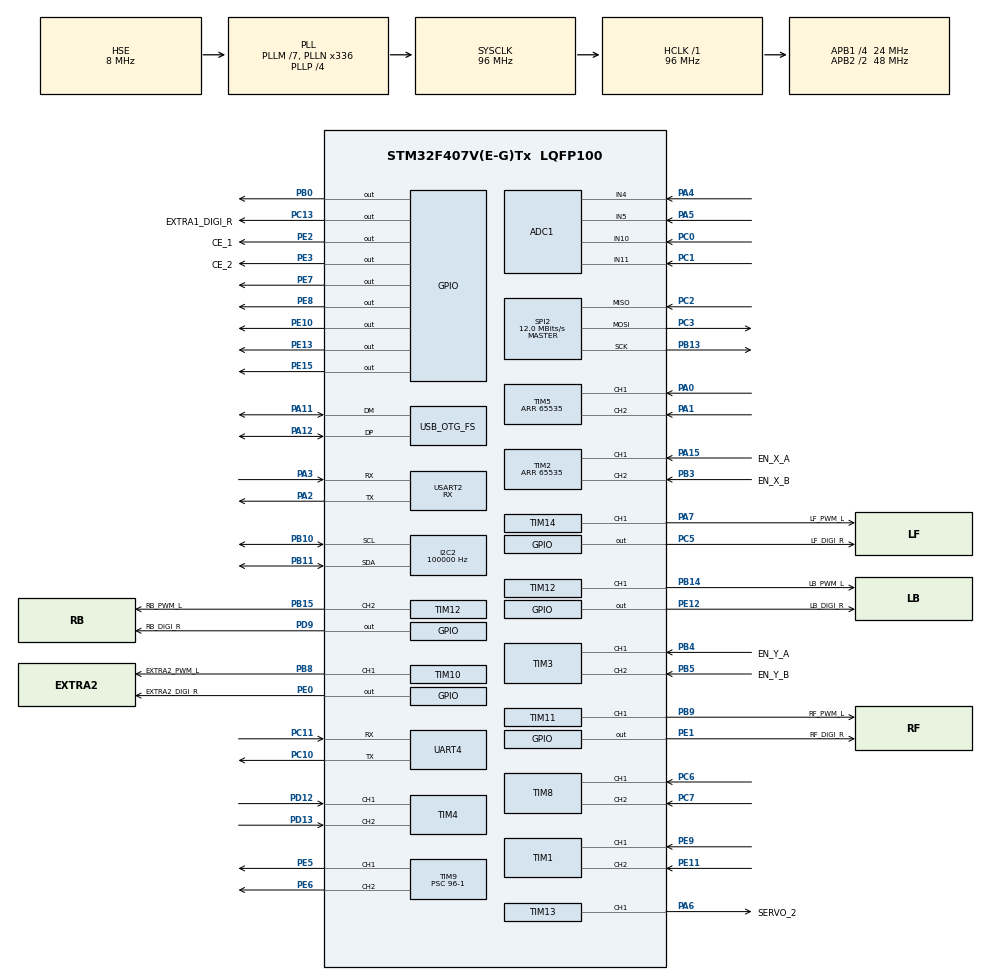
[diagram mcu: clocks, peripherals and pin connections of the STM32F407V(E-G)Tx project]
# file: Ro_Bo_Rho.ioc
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ADC1.Channel-3\#ChannelRegularConversion=ADC_CHANNEL_4
ADC1.NbrOfConversionFlag=1
ADC1.Rank-3\#ChannelRegularConversion=1
ADC1.SamplingTime-3\#ChannelRegularConversion=ADC_SAMPLETIME_3CYCLES
ADC1.master=1
I2C2.ClockSpeed=100000
I2C2.I2C_Mode=I2C_Fast
Mcu.Family=STM32F4
Mcu.Name=STM32F407V(E-G)Tx
Mcu.Package=LQFP100
NVIC.OTG_FS_IRQn=true\:0\:0\:false\:false\:true\:false\:true\:true
NVIC.PriorityGroup=NVIC_PRIORITYGROUP_4
NVIC.USART2_IRQn=true\:0\:0\:false\:false\:true\:true\:true\:true
PA0-WKUP.GPIO_PuPd=GPIO_PULLDOWN
PA0-WKUP.GPIO_Speed=GPIO_SPEED_FREQ_VERY_HIGH
PA0-WKUP.Signal=S_TIM5_CH1
PA1.GPIO_PuPd=GPIO_PULLDOWN
PA1.GPIO_Speed=GPIO_SPEED_FREQ_VERY_HIGH
PA1.Signal=S_TIM5_CH2
PA11.Mode=Device_Only
PA11.Signal=USB_OTG_FS_DM
PA12.Mode=Device_Only
PA12.Signal=USB_OTG_FS_DP
PA15.GPIO_Label=EN_X_A
PA15.GPIO_PuPd=GPIO_NOPULL
PA15.Signal=S_TIM2_CH1_ETR
PA2.Mode=Asynchronous
PA2.Signal=USART2_TX
PA3.Mode=Asynchronous
PA3.Signal=USART2_RX
PA4.Signal=ADCx_IN4
PA5.Signal=ADCx_IN5
PA6.GPIO_Label=SERVO_2
PA6.Signal=S_TIM13_CH1
PA7.GPIO_Label=LF_PWM_L
PA7.Signal=S_TIM14_CH1
PB0.Signal=GPIO_Output
PB10.Mode=I2C
PB10.Signal=I2C2_SCL
PB11.Mode=I2C
PB11.Signal=I2C2_SDA
PB13.Mode=Full_Duplex_Master
PB13.Signal=SPI2_SCK
PB14.GPIO_Label=LB_PWM_L
PB14.Signal=S_TIM12_CH1
PB15.GPIO_Label=RB_PWM_L
PB15.Signal=S_TIM12_CH2
PB3.GPIO_Label=EN_X_B
PB3.Signal=S_TIM2_CH2
PB4.GPIO_Label=EN_Y_A
PB4.GPIO_PuPd=GPIO_PULLDOWN
PB4.Signal=S_TIM3_CH1
PB5.GPIO_Label=EN_Y_B
PB5.GPIO_PuPd=GPIO_PULLDOWN
PB5.Signal=S_TIM3_CH2
PB8.GPIO_Label=EXTRA2_PWM_L
PB8.Signal=S_TIM10_CH1
PB9.GPIO_Label=RF_PWM_L
PB9.Signal=S_TIM11_CH1
PC0.Signal=ADCx_IN10
PC1.Signal=ADCx_IN11
PC10.Mode=Asynchronous
PC10.Signal=UART4_TX
PC11.Mode=Asynchronous
PC11.Signal=UART4_RX
PC13-ANTI_TAMP.GPIO_Label=EXTRA1_DIGI_R
PC13-ANTI_TAMP.Signal=GPIO_Output
PC14-OSC32_IN.Mode=LSE-External-Oscillator
PC14-OSC32_IN.Signal=RCC_OSC32_IN
PC15-OSC32_OUT.Mode=LSE-External-Oscillator
PC15-OSC32_OUT.Signal=RCC_OSC32_OUT
PC2.Mode=Full_Duplex_Master
PC2.Signal=SPI2_MISO
PC3.Mode=Full_Duplex_Master
PC3.Signal=SPI2_MOSI
PC5.GPIO_Label=LF_DIGI_R
PC5.Signal=GPIO_Output
PC6.GPIO_PuPd=GPIO_PULLDOWN
PC6.GPIO_Speed=GPIO_SPEED_FREQ_VERY_HIGH
PC6.Signal=S_TIM8_CH1
PC7.GPIO_PuPd=GPIO_PULLDOWN
PC7.GPIO_Speed=GPIO_SPEED_FREQ_VERY_HIGH
PC7.Signal=S_TIM8_CH2
PD12.GPIO_Speed=GPIO_SPEED_FREQ_VERY_HIGH
PD12.Signal=S_TIM4_CH1
PD13.GPIO_Speed=GPIO_SPEED_FREQ_VERY_HIGH
PD13.Signal=S_TIM4_CH2
PD9.GPIO_Label=RB_DIGI_R
PD9.Signal=GPIO_Output
PE0.GPIO_Label=EXTRA2_DIGI_R
PE0.Signal=GPIO_Output
PE1.GPIO_Label=RF_DIGI_R
PE1.Signal=GPIO_Output
PE10.Signal=GPIO_Output
PE11.GPIO_PuPd=GPIO_PULLDOWN
PE11.GPIO_Speed=GPIO_SPEED_FREQ_VERY_HIGH
PE11.Signal=S_TIM1_CH2
PE12.GPIO_Label=LB_DIGI_R
PE12.Signal=GPIO_Output
PE13.Signal=GPIO_Output
PE15.Signal=GPIO_Output
PE2.GPIO_Label=CE_1
PE2.Signal=GPIO_Output
PE3.GPIO_Label=CE_2
PE3.Signal=GPIO_Output
PE5.GPIO_ModeDefaultPP=GPIO_MODE_AF_PP
PE5.GPIO_PuPd=GPIO_NOPULL
PE5.GPIO_Speed=GPIO_SPEED_FREQ_LOW
PE5.Signal=S_TIM9_CH1
PE6.GPIO_ModeDefaultPP=GPIO_MODE_AF_PP
PE6.GPIO_PuPd=GPIO_NOPULL
PE6.GPIO_Speed=GPIO_SPEED_FREQ_LOW
PE6.Signal=S_TIM9_CH2
PE7.Signal=GPIO_Output
PE8.Signal=GPIO_Output
PE9.GPIO_ModeDefaultPP=GPIO_MODE_AF_PP
PE9.GPIO_PuPd=GPIO_PULLDOWN
PE9.GPIO_Speed=GPIO_SPEED_FREQ_VERY_HIGH
PE9.Signal=S_TIM1_CH1
PH0-OSC_IN.Mode=HSE-External-Oscillator
PH0-OSC_IN.Signal=RCC_OSC_IN
PH1-OSC_OUT.Mode=HSE-External-Oscillator
PH1-OSC_OUT.Signal=RCC_OSC_OUT
ProjectManager.HeapSize=0x200
ProjectManager.StackSize=0x400
ProjectManager.TargetToolchain=STM32CubeIDE
RCC.48MHZClocksFreq_Value=48000000.00000001
RCC.AHBFreq_Value=96000000.00000001
RCC.APB1CLKDivider=RCC_HCLK_DIV4
RCC.APB1Freq_Value=24000000.000000004
RCC.APB1TimFreq_Value=48000000.00000001
RCC.APB2CLKDivider=RCC_HCLK_DIV2
RCC.APB2Freq_Value=48000000.00000001
RCC.APB2TimFreq_Value=96000000.00000001
RCC.CortexFreq_Value=96000000.00000001
RCC.HCLKFreq_Value=96000000.00000001
RCC.HSE_VALUE=8000000
RCC.HSI_VALUE=16000000
RCC.PLLM=7
RCC.PLLN=336
RCC.PLLP=RCC_PLLP_DIV4
RCC.PLLQ=8
RCC.SYSCLKFreq_VALUE=96000000.00000001
RCC.SYSCLKSource=RCC_SYSCLKSOURCE_PLLCLK
RCC.VCOOutputFreq_Value=384000000.00000006
SH.ADCx_IN10.0=ADC1_IN10,IN10
SH.ADCx_IN11.0=ADC1_IN11,IN11
SH.ADCx_IN4.0=ADC1_IN4,IN4
SH.ADCx_IN5.0=ADC1_IN5,IN5
SH.S_TIM10_CH1.0=TIM10_CH1,PWM Generation1 CH1
SH.S_TIM11_CH1.0=TIM11_CH1,PWM Generation1 CH1
SH.S_TIM12_CH1.0=TIM12_CH1,PWM Generation1 CH1
SH.S_TIM12_CH2.0=TIM12_CH2,PWM Generation2 CH2
SH.S_TIM13_CH1.0=TIM13_CH1,PWM Generation1 CH1
SH.S_TIM14_CH1.0=TIM14_CH1,PWM Generation1 CH1
SH.S_TIM1_CH1.0=TIM1_CH1,Encoder_Interface
SH.S_TIM1_CH2.0=TIM1_CH2,Encoder_Interface
SH.S_TIM2_CH1_ETR.0=TIM2_CH1,Encoder_Interface
SH.S_TIM2_CH2.0=TIM2_CH2,Encoder_Interface
SH.S_TIM3_CH1.0=TIM3_CH1,Encoder_Interface
SH.S_TIM3_CH2.0=TIM3_CH2,Encoder_Interface
SH.S_TIM4_CH1.0=TIM4_CH1,Encoder_Interface
SH.S_TIM4_CH2.0=TIM4_CH2,Encoder_Interface
SH.S_TIM5_CH1.0=TIM5_CH1,Encoder_Interface
SH.S_TIM5_CH2.0=TIM5_CH2,Encoder_Interface
SH.S_TIM8_CH1.0=TIM8_CH1,Encoder_Interface
SH.S_TIM8_CH2.0=TIM8_CH2,Encoder_Interface
SH.S_TIM9_CH1.0=TIM9_CH1,PWM Generation1 CH1
SH.S_TIM9_CH2.0=TIM9_CH2,PWM Generation2 CH2
SPI2.CalculateBaudRate=12.0 MBits/s
SPI2.Direction=SPI_DIRECTION_2LINES
SPI2.Mode=SPI_MODE_MASTER
SPI2.VirtualType=VM_MASTER
TIM1.EncoderMode=TIM_ENCODERMODE_TI12
TIM10.Channel=TIM_CHANNEL_1
TIM10.Period=4096-1
TIM10.Prescaler=2-1
TIM11.Channel=TIM_CHANNEL_1
TIM11.Period=4096-1
TIM11.Prescaler=2-1
TIM12.Channel-PWM\ Generation1\ CH1=TIM_CHANNEL_1
TIM12.Channel-PWM\ Generation2\ CH2=TIM_CHANNEL_2
TIM12.Period=4096-1
TIM12.Prescaler=2-1
TIM13.Channel=TIM_CHANNEL_1
TIM13.Period=4096-1
TIM13.Prescaler=2-1
TIM14.Channel=TIM_CHANNEL_1
TIM14.Period=4096-1
TIM14.Prescaler=2-1
TIM2.EncoderMode=TIM_ENCODERMODE_TI12
TIM2.Period=65535
TIM3.EncoderMode=TIM_ENCODERMODE_TI12
TIM4.EncoderMode=TIM_ENCODERMODE_TI12
TIM5.EncoderMode=TIM_ENCODERMODE_TI12
TIM5.Period=65535
TIM8.EncoderMode=TIM_ENCODERMODE_TI12
TIM9.Channel-PWM\ Generation1\ CH1=TIM_CHANNEL_1
TIM9.Channel-PWM\ Generation2\ CH2=TIM_CHANNEL_2
TIM9.Period=10000
TIM9.Prescaler=96-1
UART4.VirtualMode=Asynchronous
USART2.Mode=MODE_RX
USART2.VirtualMode=VM_ASYNC
USB_DEVICE.CLASS_NAME_FS=CDC
USB_DEVICE.VirtualMode-CDC_FS=Cdc
USB_DEVICE.VirtualModeFS=Cdc_FS
USB_OTG_FS.VirtualMode=Device_Only
VP_TIM10_VS_ClockSourceINT.Mode=Enable_Timer
VP_TIM11_VS_ClockSourceINT.Mode=Enable_Timer
VP_TIM13_VS_ClockSourceINT.Mode=Enable_Timer
VP_TIM14_VS_ClockSourceINT.Mode=Enable_Timer
VP_USB_DEVICE_VS_USB_DEVICE_CDC_FS.Mode=CDC_FS
board=custom

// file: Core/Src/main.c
/* USER CODE BEGIN Header */
/**
  ******************************************************************************
  * @file           : main.c
  * @brief          : Main program body
  ******************************************************************************
  * @attention
  *
  * Copyright (c) 2024 STMicroelectronics.
  * All rights reserved.
  *
  * This software is licensed under terms that can be found in the LICENSE file
  * in the root directory of this software component.
  * If no LICENSE file comes with this software, it is provided AS-IS.
  *
  ******************************************************************************
  */
/* USER CODE END Header */
#include "main.h"
#include "usb_device.h"

/* USER CODE BEGIN Includes */
#include "string.h"

#include "app_ros_comm.h"

//#include "usbd_cdc_if.h"
//#include "MPU6050.h"
//#include "Encoder_Motor.h"

#include "Inverse_Kinematics.h"

#include "Forward_Kinematics.h"

#include "Game_Play.h"

//#include <Ramp_Robot.h>
/* USER CODE END Includes */

ADC_HandleTypeDef hadc1;

I2C_HandleTypeDef hi2c2;

SPI_HandleTypeDef hspi2;

TIM_HandleTypeDef htim1;
TIM_HandleTypeDef htim2;
TIM_HandleTypeDef htim3;
TIM_HandleTypeDef htim4;
TIM_HandleTypeDef htim5;
TIM_HandleTypeDef htim8;
TIM_HandleTypeDef htim9;
TIM_HandleTypeDef htim10;
TIM_HandleTypeDef htim11;
TIM_HandleTypeDef htim12;
TIM_HandleTypeDef htim13;
TIM_HandleTypeDef htim14;

UART_HandleTypeDef huart4;
UART_HandleTypeDef huart2;

void SystemClock_Config(void);
static void MX_GPIO_Init(void);
static void MX_TIM2_Init(void);
static void MX_TIM4_Init(void);
static void MX_ADC1_Init(void);
static void MX_SPI2_Init(void);
static void MX_TIM1_Init(void);
static void MX_TIM8_Init(void);
static void MX_TIM9_Init(void);
static void MX_TIM10_Init(void);
static void MX_TIM11_Init(void);
static void MX_TIM12_Init(void);
static void MX_TIM13_Init(void);
static void MX_TIM14_Init(void);
static void MX_USART2_UART_Init(void);
static void MX_UART4_Init(void);
static void MX_I2C2_Init(void);
static void MX_TIM3_Init(void);
static void MX_TIM5_Init(void);

/* USER CODE BEGIN 0 */

//Motor_contro
int16_t count[6] = { 0 }; //LF ,LB ,RF ,RB ,EXTRA1 ,EXTRA2

int16_t RPM[6] = { 0 }; //LF ,LB ,RF ,RB ,EXTRA1 ,EXTRA2

float Vx = 0.0f;
float Vy = 0.0f;
float Vz = 0.0f;

uint8_t addr;
float Rad = 0;

uint32_t last_uart_data_time = 0;
#define UART_TIMEOUT_MS 500
uint8_t uart_resetting = 0;

long PastTime = 0;

float PID[6] = { 0 };

//Receiver_Joy
uint8_t temp_buffer = 0;
uint8_t cpy_pointer = 0;
uint8_t joy_recv_fsm = 0;

ControllerData Str_PS2;

//#define ROBOT_1

/* USER CODE END 0 */

int main(void)
{

  /* MCU Configuration--------------------------------------------------------*/

  /* Reset of all peripherals, Initializes the Flash interface and the Systick. */
  HAL_Init();

  /* Configure the system clock */
  SystemClock_Config();

  /* Initialize all configured peripherals */
  MX_GPIO_Init();
  MX_TIM2_Init();
  MX_TIM4_Init();
  MX_ADC1_Init();
  MX_SPI2_Init();
  MX_TIM1_Init();
  MX_TIM8_Init();
  MX_TIM9_Init();
  MX_TIM10_Init();
  MX_TIM11_Init();
  MX_TIM12_Init();
  MX_TIM13_Init();
  MX_TIM14_Init();
  MX_USART2_UART_Init();
  MX_USB_DEVICE_Init();
  MX_UART4_Init();
  MX_I2C2_Init();
  MX_TIM3_Init();
  MX_TIM5_Init();
  /* USER CODE BEGIN 2 */
   Motor_setup_LF(&htim14   ,&htim5    ,"PC05");
   Motor_setup_LB(&htim12   ,&htim1    ,"PE12");
   Motor_setup_RF(&htim11   ,&htim8    ,"PE01");
   Motor_setup_RB(&htim12   ,&htim4    ,"PD09");

   HAL_TIMEx_PWMN_Start(&htim9, TIM_CHANNEL_2);

   Motor_setup_EXTRA1(&htim9,&htim3    ,"PC13");
   Motor_setup_EXTRA2(&htim10,&htim2   ,"PE00");

   Setup_Gear_Ratio(27);
   Setup_CPR(68);
   Setup_frequency_Motor(100);

   Setup_PID_LF(1.0 ,0.0 ,0.2 ,0 ,300);
   Setup_PID_LB(1.0 ,0.0 ,0.2 ,0 ,300);
   Setup_PID_RF(1.0 ,0.0 ,0.2 ,0 ,300);
   Setup_PID_RB(1.0 ,0.0 ,0.2 ,0 ,300);

//   Setup_PID_EXTRA1(0.5 ,0.1 ,0 ,0 ,280);
//   Setup_PID_EXTRA2(0.5 ,0.1 ,0 ,0 ,280);

   Setup_frequency_Forward_Kinematic(100);
   Setup_Forward_Kinematic(0.23f ,0.23f ,0.06f);

   Setup_Inverse_Kinematic(0.23f ,0.23f ,0.06f);

   //UAST2 esp_s3_zero to STM32
//   HAL_UART_Receive_IT(&huart2, (uint8_t *)&temp_buffer, 1);

   HAL_UART_Receive_IT(&huart2, (uint8_t*)&Str_PS2, sizeof(Str_PS2));

//   Setup_MPU6050(&hi2c2);

  /* USER CODE END 2 */

  /* Infinite loop */
  while (1)
  {

    /* USER CODE BEGIN 3 */

	  if ((uwTick - PastTime) > 10) {
	    PastTime = uwTick;

//	    if (uart_resetting && ((uwTick - last_uart_data_time) > UART_TIMEOUT_MS)) {
//	        uart_resetting = 0;  // เคลียร์ flag
//
//	        HAL_UART_DeInit(&huart2);
//	        HAL_Delay(10);
//	        MX_USART2_UART_Init();
//	        HAL_UART_Receive_IT(&huart2, (uint8_t*) &temp_buffer, 1);
//
//	        memset(&Str_PS2, 0, sizeof(Str_PS2));
//	        joy_recv_fsm = 0;
//	        cpy_pointer = 0;
//
//	        // หยุดมอเตอร์
//	        Motor_DutyCycle_LF(0);
//	        Motor_DutyCycle_LB(0);
//	        Motor_DutyCycle_RF(0);
//	        Motor_DutyCycle_RB(0);
//	        Motor_DutyCycle_EXTRA1(0);
//	        Motor_DutyCycle_EXTRA2(0);
//
//	        digitalWrite("PE08", 0);  // LED OFF
//	    }else{
//	    	digitalWrite("PE08", 1);  // LED ON
//	    }

	    if (((uwTick - last_uart_data_time) < UART_TIMEOUT_MS) && (Str_PS2.Header[0] == 'R') && (Str_PS2.Header[1] == 'B')) {
	    	      digitalWrite("PE15", 1);

	    	      Str_PS2.Header[0] = 0;
	    	      Str_PS2.Header[1] = 0;
	    	    } else {
	    	      if (!uart_resetting && ((uwTick - last_uart_data_time) > UART_TIMEOUT_MS)) {
	    	        uart_resetting = 1;  // ตั้ง flag เพื่อป้อง�?ัน reset ซ้ำซ้อน

	    	        HAL_UART_DeInit(&huart2);
	    	        HAL_Delay(10);
	    	        MX_USART2_UART_Init();

	    	        HAL_UART_Receive_IT(&huart2, (uint8_t *)&Str_PS2, sizeof(Str_PS2));
//	    	        HAL_UART_Receive_IT(&huart2, (uint8_t *)&temp_buffer, 1);

	    	        memset(&Str_PS2, 0, sizeof(Str_PS2));

	    	        digitalWrite("PE15", 0);
	    	      }
	    	      // หยุดมอเตอร์เพื่อความปลอดภัย
	    	      Motor_DutyCycle_LF(0);
	    	      Motor_DutyCycle_LB(0);
	    	      Motor_DutyCycle_RF(0);
	    	      Motor_DutyCycle_RB(0);

	    	      Motor_DutyCycle_EXTRA1(0);
	    	      Motor_DutyCycle_EXTRA2(0);
	    }
//	    addr = Scan_I2C(&hi2c2);
//	    ReadMPU6050();
//	    Rad = getDegreeZ();
//	    Rad = getRadianZ();

	    // count[0] = getCount(&htim5);
	    // count[1] = getCount(&htim1);
	    // count[2] = getCount(&htim8);
	    // count[3] = getCount(&htim4);
	    // count[4] = getCount(&htim2);
	    // count[5] = getCount(&htim3);

	    RPM[0] = getRPM_TIM_Wheel(&htim5, LF);
	    RPM[1] = -getRPM_TIM_Wheel(&htim1, LB);
	    RPM[2] = getRPM_TIM_Wheel(&htim8, RF);
	    RPM[3] = getRPM_TIM_Wheel(&htim4, RB);

	    // RPM[4] = getRPM_TIM_Wheel(&htim3, EXTRA1);
	    // RPM[5] = getRPM_TIM_Wheel(&htim2, EXTRA2);

//	     Odometry_Forward_Kinematic(getRPM_to_Rad_s(360), getRPM_to_Rad_s(-360), getRPM_to_Rad_s(360), getRPM_to_Rad_s(-360));
//	     Vx = get_Vy();
#ifdef ROBOT_1
	    app_ros_comm_runner();
        if(Str_PS2.attackBtnBit.attack1 == 1){

        	PID[0] = Motor_Speed_LF((motor_cmdvel_ptr_t.v1/Gear_Ratio), RPM[0]);
        	PID[1] = Motor_Speed_LB((motor_cmdvel_ptr_t.v2/Gear_Ratio), RPM[1]);
        	PID[2] = Motor_Speed_RF((motor_cmdvel_ptr_t.v4/Gear_Ratio), RPM[2]);
        	PID[3] = Motor_Speed_RB((motor_cmdvel_ptr_t.v3/Gear_Ratio), RPM[3]);
        }else{
        	Vx = map(Str_PS2.stickValue[0], 100.0f, -100.0f, 2.3f, -2.3f);
        	Vy = map(Str_PS2.stickValue[1], 100.0f, -100.0f, 2.3f, -2.3f);
        	Vz = map(Str_PS2.stickValue[3], 100.0f, -100.0f, 4.0f, -4.0f);

        	//	    Inverse_Kinematic(Vx, Vy, Vz);
        	Inverse_Kinematic_Lock_Direction(Vx ,Vy ,Vz ,Rad);

        	PID[0] = Motor_Speed_LF(getRad_s_to_RPM(get_w_LF()), RPM[0]);
        	PID[1] = Motor_Speed_LB(getRad_s_to_RPM(get_w_LB()), RPM[1]);
        	PID[2] = Motor_Speed_RF(getRad_s_to_RPM(get_w_RF()), RPM[2]);
        	PID[3] = Motor_Speed_RB(getRad_s_to_RPM(get_w_RB()), RPM[3]);
        }

        Game_Play_ROBOT_1();
#else
        Vx = map(Str_PS2.stickValue[0], 100.0f, -100.0f, 2.3f, -2.3f);
        Vy = map(Str_PS2.stickValue[1], 100.0f, -100.0f, 2.3f, -2.3f);
        Vz = map(Str_PS2.stickValue[3], 100.0f, -100.0f, 4.0f, -4.0f);

        Inverse_Kinematic(Vx, Vy, Vz);
        Inverse_Kinematic_Lock_Direction(Vx ,Vy ,Vz ,Rad);

        PID[0] = Motor_Speed_LF(getRad_s_to_RPM(get_w_LF()), RPM[0]);
        PID[1] = Motor_Speed_LB(getRad_s_to_RPM(get_w_LB()), RPM[1]);
        PID[2] = Motor_Speed_RF(getRad_s_to_RPM(get_w_RF()), RPM[2]);
        PID[3] = Motor_Speed_RB(getRad_s_to_RPM(get_w_RB()), RPM[3]);
//
//        Motor_DutyCycle_LF(map(getRad_s_to_RPM(get_w_LF()), -300, 300, -4095, 4095));
//        Motor_DutyCycle_LB(map(getRad_s_to_RPM(get_w_LB()), -300, 300, -4095, 4095));
//        Motor_DutyCycle_RF(map(getRad_s_to_RPM(get_w_RF()), -300, 300, -4095, 4095));
//        Motor_DutyCycle_RB(map(getRad_s_to_RPM(get_w_RB()), -300, 300, -4095, 4095));
//
//        Game_Play_ROBOT_2(&htim9);
#endif
//			digitalWrite("PE10", 0);
//			digitalWrite("PE08", 1);
//
//			Motor_DutyCycle_LF(4095);
//			Motor_DutyCycle_LB(4095);
//			Motor_DutyCycle_RF(4095);
//			Motor_DutyCycle_RB(4095);
//
//			Motor_DutyCycle_EXTRA1(4000);
//			Motor_DutyCycle_EXTRA2(-4000);

//	     PID[0] = Motor_Speed_LF(300, RPM[0]);
//	     PID[1] = Motor_Speed_LB(300, RPM[1]);
//	     PID[2] = Motor_Speed_RF(300, RPM[2]);
//	     PID[3] = Motor_Speed_RB(300, RPM[3]);
		}
  }

  /* USER CODE END 3 */
}

void SystemClock_Config(void)
{
  RCC_OscInitTypeDef RCC_OscInitStruct = {0};
  RCC_ClkInitTypeDef RCC_ClkInitStruct = {0};

  /** Configure the main internal regulator output voltage
  */
  __HAL_RCC_PWR_CLK_ENABLE();
  __HAL_PWR_VOLTAGESCALING_CONFIG(PWR_REGULATOR_VOLTAGE_SCALE1);

  /** Initializes the RCC Oscillators according to the specified parameters
  * in the RCC_OscInitTypeDef structure.
  */
  RCC_OscInitStruct.OscillatorType = RCC_OSCILLATORTYPE_HSE;
  RCC_OscInitStruct.HSEState = RCC_HSE_ON;
  RCC_OscInitStruct.PLL.PLLState = RCC_PLL_ON;
  RCC_OscInitStruct.PLL.PLLSource = RCC_PLLSOURCE_HSE;
  RCC_OscInitStruct.PLL.PLLM = 7;
  RCC_OscInitStruct.PLL.PLLN = 336;
  RCC_OscInitStruct.PLL.PLLP = RCC_PLLP_DIV4;
  RCC_OscInitStruct.PLL.PLLQ = 8;
  if (HAL_RCC_OscConfig(&RCC_OscInitStruct) != HAL_OK)
  {
    Error_Handler();
  }

  /** Initializes the CPU, AHB and APB buses clocks
  */
  RCC_ClkInitStruct.ClockType = RCC_CLOCKTYPE_HCLK|RCC_CLOCKTYPE_SYSCLK
                              |RCC_CLOCKTYPE_PCLK1|RCC_CLOCKTYPE_PCLK2;
  RCC_ClkInitStruct.SYSCLKSource = RCC_SYSCLKSOURCE_PLLCLK;
  RCC_ClkInitStruct.AHBCLKDivider = RCC_SYSCLK_DIV1;
  RCC_ClkInitStruct.APB1CLKDivider = RCC_HCLK_DIV4;
  RCC_ClkInitStruct.APB2CLKDivider = RCC_HCLK_DIV2;

  if (HAL_RCC_ClockConfig(&RCC_ClkInitStruct, FLASH_LATENCY_3) != HAL_OK)
  {
    Error_Handler();
  }
}

static void MX_ADC1_Init(void)
{

  ADC_ChannelConfTypeDef sConfig = {0};

  /** Configure the global features of the ADC (Clock, Resolution, Data Alignment and number of conversion)
  */
  hadc1.Instance = ADC1;
  hadc1.Init.ClockPrescaler = ADC_CLOCK_SYNC_PCLK_DIV2;
  hadc1.Init.Resolution = ADC_RESOLUTION_12B;
  hadc1.Init.ScanConvMode = DISABLE;
  hadc1.Init.ContinuousConvMode = DISABLE;
  hadc1.Init.DiscontinuousConvMode = DISABLE;
  hadc1.Init.ExternalTrigConvEdge = ADC_EXTERNALTRIGCONVEDGE_NONE;
  hadc1.Init.ExternalTrigConv = ADC_SOFTWARE_START;
  hadc1.Init.DataAlign = ADC_DATAALIGN_RIGHT;
  hadc1.Init.NbrOfConversion = 1;
  hadc1.Init.DMAContinuousRequests = DISABLE;
  hadc1.Init.EOCSelection = ADC_EOC_SINGLE_CONV;
  if (HAL_ADC_Init(&hadc1) != HAL_OK)
  {
    Error_Handler();
  }

  /** Configure for the selected ADC regular channel its corresponding rank in the sequencer and its sample time.
  */
  sConfig.Channel = ADC_CHANNEL_4;
  sConfig.Rank = 1;
  sConfig.SamplingTime = ADC_SAMPLETIME_3CYCLES;
  if (HAL_ADC_ConfigChannel(&hadc1, &sConfig) != HAL_OK)
  {
    Error_Handler();
  }

}

static void MX_I2C2_Init(void)
{

  hi2c2.Instance = I2C2;
  hi2c2.Init.ClockSpeed = 100000;
  hi2c2.Init.DutyCycle = I2C_DUTYCYCLE_2;
  hi2c2.Init.OwnAddress1 = 0;
  hi2c2.Init.AddressingMode = I2C_ADDRESSINGMODE_7BIT;
  hi2c2.Init.DualAddressMode = I2C_DUALADDRESS_DISABLE;
  hi2c2.Init.OwnAddress2 = 0;
  hi2c2.Init.GeneralCallMode = I2C_GENERALCALL_DISABLE;
  hi2c2.Init.NoStretchMode = I2C_NOSTRETCH_DISABLE;
  if (HAL_I2C_Init(&hi2c2) != HAL_OK)
  {
    Error_Handler();
  }

}

static void MX_SPI2_Init(void)
{

  /* SPI2 parameter configuration*/
  hspi2.Instance = SPI2;
  hspi2.Init.Mode = SPI_MODE_MASTER;
  hspi2.Init.Direction = SPI_DIRECTION_2LINES;
  hspi2.Init.DataSize = SPI_DATASIZE_8BIT;
  hspi2.Init.CLKPolarity = SPI_POLARITY_LOW;
  hspi2.Init.CLKPhase = SPI_PHASE_1EDGE;
  hspi2.Init.NSS = SPI_NSS_SOFT;
  hspi2.Init.BaudRatePrescaler = SPI_BAUDRATEPRESCALER_2;
  hspi2.Init.FirstBit = SPI_FIRSTBIT_MSB;
  hspi2.Init.TIMode = SPI_TIMODE_DISABLE;
  hspi2.Init.CRCCalculation = SPI_CRCCALCULATION_DISABLE;
  hspi2.Init.CRCPolynomial = 10;
  if (HAL_SPI_Init(&hspi2) != HAL_OK)
  {
    Error_Handler();
  }

}

static void MX_TIM1_Init(void)
{

  TIM_Encoder_InitTypeDef sConfig = {0};
  TIM_MasterConfigTypeDef sMasterConfig = {0};

  htim1.Instance = TIM1;
  htim1.Init.Prescaler = 0;
  htim1.Init.CounterMode = TIM_COUNTERMODE_UP;
  htim1.Init.Period = 65535;
  htim1.Init.ClockDivision = TIM_CLOCKDIVISION_DIV1;
  htim1.Init.RepetitionCounter = 0;
  htim1.Init.AutoReloadPreload = TIM_AUTORELOAD_PRELOAD_DISABLE;
  sConfig.EncoderMode = TIM_ENCODERMODE_TI12;
  sConfig.IC1Polarity = TIM_ICPOLARITY_RISING;
  sConfig.IC1Selection = TIM_ICSELECTION_DIRECTTI;
  sConfig.IC1Prescaler = TIM_ICPSC_DIV1;
  sConfig.IC1Filter = 0;
  sConfig.IC2Polarity = TIM_ICPOLARITY_RISING;
  sConfig.IC2Selection = TIM_ICSELECTION_DIRECTTI;
  sConfig.IC2Prescaler = TIM_ICPSC_DIV1;
  sConfig.IC2Filter = 0;
  if (HAL_TIM_Encoder_Init(&htim1, &sConfig) != HAL_OK)
  {
    Error_Handler();
  }
  sMasterConfig.MasterOutputTrigger = TIM_TRGO_RESET;
  sMasterConfig.MasterSlaveMode = TIM_MASTERSLAVEMODE_DISABLE;
  if (HAL_TIMEx_MasterConfigSynchronization(&htim1, &sMasterConfig) != HAL_OK)
  {
    Error_Handler();
  }

}

static void MX_TIM2_Init(void)
{

  TIM_Encoder_InitTypeDef sConfig = {0};
  TIM_MasterConfigTypeDef sMasterConfig = {0};

  htim2.Instance = TIM2;
  htim2.Init.Prescaler = 0;
  htim2.Init.CounterMode = TIM_COUNTERMODE_UP;
  htim2.Init.Period = 65535;
  htim2.Init.ClockDivision = TIM_CLOCKDIVISION_DIV1;
  htim2.Init.AutoReloadPreload = TIM_AUTORELOAD_PRELOAD_DISABLE;
  sConfig.EncoderMode = TIM_ENCODERMODE_TI12;
  sConfig.IC1Polarity = TIM_ICPOLARITY_RISING;
  sConfig.IC1Selection = TIM_ICSELECTION_DIRECTTI;
  sConfig.IC1Prescaler = TIM_ICPSC_DIV1;
  sConfig.IC1Filter = 0;
  sConfig.IC2Polarity = TIM_ICPOLARITY_RISING;
  sConfig.IC2Selection = TIM_ICSELECTION_DIRECTTI;
  sConfig.IC2Prescaler = TIM_ICPSC_DIV1;
  sConfig.IC2Filter = 0;
  if (HAL_TIM_Encoder_Init(&htim2, &sConfig) != HAL_OK)
  {
    Error_Handler();
  }
  sMasterConfig.MasterOutputTrigger = TIM_TRGO_RESET;
  sMasterConfig.MasterSlaveMode = TIM_MASTERSLAVEMODE_DISABLE;
  if (HAL_TIMEx_MasterConfigSynchronization(&htim2, &sMasterConfig) != HAL_OK)
  {
    Error_Handler();
  }

}

static void MX_TIM3_Init(void)
{

  TIM_Encoder_InitTypeDef sConfig = {0};
  TIM_MasterConfigTypeDef sMasterConfig = {0};

  htim3.Instance = TIM3;
  htim3.Init.Prescaler = 0;
  htim3.Init.CounterMode = TIM_COUNTERMODE_UP;
  htim3.Init.Period = 65535;
  htim3.Init.ClockDivision = TIM_CLOCKDIVISION_DIV1;
  htim3.Init.AutoReloadPreload = TIM_AUTORELOAD_PRELOAD_DISABLE;
  sConfig.EncoderMode = TIM_ENCODERMODE_TI12;
  sConfig.IC1Polarity = TIM_ICPOLARITY_RISING;
  sConfig.IC1Selection = TIM_ICSELECTION_DIRECTTI;
  sConfig.IC1Prescaler = TIM_ICPSC_DIV1;
  sConfig.IC1Filter = 0;
  sConfig.IC2Polarity = TIM_ICPOLARITY_RISING;
  sConfig.IC2Selection = TIM_ICSELECTION_DIRECTTI;
  sConfig.IC2Prescaler = TIM_ICPSC_DIV1;
  sConfig.IC2Filter = 0;
  if (HAL_TIM_Encoder_Init(&htim3, &sConfig) != HAL_OK)
  {
    Error_Handler();
  }
  sMasterConfig.MasterOutputTrigger = TIM_TRGO_RESET;
  sMasterConfig.MasterSlaveMode = TIM_MASTERSLAVEMODE_DISABLE;
  if (HAL_TIMEx_MasterConfigSynchronization(&htim3, &sMasterConfig) != HAL_OK)
  {
    Error_Handler();
  }

}

static void MX_TIM4_Init(void)
{

  TIM_Encoder_InitTypeDef sConfig = {0};
  TIM_MasterConfigTypeDef sMasterConfig = {0};

  htim4.Instance = TIM4;
  htim4.Init.Prescaler = 0;
  htim4.Init.CounterMode = TIM_COUNTERMODE_UP;
  htim4.Init.Period = 65535;
  htim4.Init.ClockDivision = TIM_CLOCKDIVISION_DIV1;
  htim4.Init.AutoReloadPreload = TIM_AUTORELOAD_PRELOAD_DISABLE;
  sConfig.EncoderMode = TIM_ENCODERMODE_TI12;
  sConfig.IC1Polarity = TIM_ICPOLARITY_RISING;
  sConfig.IC1Selection = TIM_ICSELECTION_DIRECTTI;
  sConfig.IC1Prescaler = TIM_ICPSC_DIV1;
  sConfig.IC1Filter = 0;
  sConfig.IC2Polarity = TIM_ICPOLARITY_RISING;
  sConfig.IC2Selection = TIM_ICSELECTION_DIRECTTI;
  sConfig.IC2Prescaler = TIM_ICPSC_DIV1;
  sConfig.IC2Filter = 0;
  if (HAL_TIM_Encoder_Init(&htim4, &sConfig) != HAL_OK)
  {
    Error_Handler();
  }
  sMasterConfig.MasterOutputTrigger = TIM_TRGO_RESET;
  sMasterConfig.MasterSlaveMode = TIM_MASTERSLAVEMODE_DISABLE;
  if (HAL_TIMEx_MasterConfigSynchronization(&htim4, &sMasterConfig) != HAL_OK)
  {
    Error_Handler();
  }

}

static void MX_TIM5_Init(void)
{

  TIM_Encoder_InitTypeDef sConfig = {0};
  TIM_MasterConfigTypeDef sMasterConfig = {0};

  htim5.Instance = TIM5;
  htim5.Init.Prescaler = 0;
  htim5.Init.CounterMode = TIM_COUNTERMODE_UP;
  htim5.Init.Period = 65535;
  htim5.Init.ClockDivision = TIM_CLOCKDIVISION_DIV1;
  htim5.Init.AutoReloadPreload = TIM_AUTORELOAD_PRELOAD_DISABLE;
  sConfig.EncoderMode = TIM_ENCODERMODE_TI12;
  sConfig.IC1Polarity = TIM_ICPOLARITY_RISING;
  sConfig.IC1Selection = TIM_ICSELECTION_DIRECTTI;
  sConfig.IC1Prescaler = TIM_ICPSC_DIV1;
  sConfig.IC1Filter = 0;
  sConfig.IC2Polarity = TIM_ICPOLARITY_RISING;
  sConfig.IC2Selection = TIM_ICSELECTION_DIRECTTI;
  sConfig.IC2Prescaler = TIM_ICPSC_DIV1;
  sConfig.IC2Filter = 0;
  if (HAL_TIM_Encoder_Init(&htim5, &sConfig) != HAL_OK)
  {
    Error_Handler();
  }
  sMasterConfig.MasterOutputTrigger = TIM_TRGO_RESET;
  sMasterConfig.MasterSlaveMode = TIM_MASTERSLAVEMODE_DISABLE;
  if (HAL_TIMEx_MasterConfigSynchronization(&htim5, &sMasterConfig) != HAL_OK)
  {
    Error_Handler();
  }

}

static void MX_TIM8_Init(void)
{

  TIM_Encoder_InitTypeDef sConfig = {0};
  TIM_MasterConfigTypeDef sMasterConfig = {0};

  htim8.Instance = TIM8;
  htim8.Init.Prescaler = 0;
  htim8.Init.CounterMode = TIM_COUNTERMODE_UP;
  htim8.Init.Period = 65535;
  htim8.Init.ClockDivision = TIM_CLOCKDIVISION_DIV1;
  htim8.Init.RepetitionCounter = 0;
  htim8.Init.AutoReloadPreload = TIM_AUTORELOAD_PRELOAD_DISABLE;
  sConfig.EncoderMode = TIM_ENCODERMODE_TI12;
  sConfig.IC1Polarity = TIM_ICPOLARITY_RISING;
  sConfig.IC1Selection = TIM_ICSELECTION_DIRECTTI;
  sConfig.IC1Prescaler = TIM_ICPSC_DIV1;
  sConfig.IC1Filter = 0;
  sConfig.IC2Polarity = TIM_ICPOLARITY_RISING;
  sConfig.IC2Selection = TIM_ICSELECTION_DIRECTTI;
  sConfig.IC2Prescaler = TIM_ICPSC_DIV1;
  sConfig.IC2Filter = 0;
  if (HAL_TIM_Encoder_Init(&htim8, &sConfig) != HAL_OK)
  {
    Error_Handler();
  }
  sMasterConfig.MasterOutputTrigger = TIM_TRGO_RESET;
  sMasterConfig.MasterSlaveMode = TIM_MASTERSLAVEMODE_DISABLE;
  if (HAL_TIMEx_MasterConfigSynchronization(&htim8, &sMasterConfig) != HAL_OK)
  {
    Error_Handler();
  }

}

static void MX_TIM9_Init(void)
{

  TIM_OC_InitTypeDef sConfigOC = {0};

  htim9.Instance = TIM9;
  htim9.Init.Prescaler = 96-1;
  htim9.Init.CounterMode = TIM_COUNTERMODE_UP;
  htim9.Init.Period = 10000;
  htim9.Init.ClockDivision = TIM_CLOCKDIVISION_DIV1;
  htim9.Init.AutoReloadPreload = TIM_AUTORELOAD_PRELOAD_DISABLE;
  if (HAL_TIM_PWM_Init(&htim9) != HAL_OK)
  {
    Error_Handler();
  }
  sConfigOC.OCMode = TIM_OCMODE_PWM1;
  sConfigOC.Pulse = 0;
  sConfigOC.OCPolarity = TIM_OCPOLARITY_HIGH;
  sConfigOC.OCFastMode = TIM_OCFAST_DISABLE;
  if (HAL_TIM_PWM_ConfigChannel(&htim9, &sConfigOC, TIM_CHANNEL_1) != HAL_OK)
  {
    Error_Handler();
  }
  if (HAL_TIM_PWM_ConfigChannel(&htim9, &sConfigOC, TIM_CHANNEL_2) != HAL_OK)
  {
    Error_Handler();
  }
  HAL_TIM_MspPostInit(&htim9);

}

static void MX_TIM10_Init(void)
{

  TIM_OC_InitTypeDef sConfigOC = {0};

  htim10.Instance = TIM10;
  htim10.Init.Prescaler = 2-1;
  htim10.Init.CounterMode = TIM_COUNTERMODE_UP;
  htim10.Init.Period = 4096-1;
  htim10.Init.ClockDivision = TIM_CLOCKDIVISION_DIV1;
  htim10.Init.AutoReloadPreload = TIM_AUTORELOAD_PRELOAD_DISABLE;
  if (HAL_TIM_Base_Init(&htim10) != HAL_OK)
  {
    Error_Handler();
  }
  if (HAL_TIM_PWM_Init(&htim10) != HAL_OK)
  {
    Error_Handler();
  }
  sConfigOC.OCMode = TIM_OCMODE_PWM1;
  sConfigOC.Pulse = 0;
  sConfigOC.OCPolarity = TIM_OCPOLARITY_HIGH;
  sConfigOC.OCFastMode = TIM_OCFAST_DISABLE;
  if (HAL_TIM_PWM_ConfigChannel(&htim10, &sConfigOC, TIM_CHANNEL_1) != HAL_OK)
  {
    Error_Handler();
  }
  HAL_TIM_MspPostInit(&htim10);

}

static void MX_TIM11_Init(void)
{

  TIM_OC_InitTypeDef sConfigOC = {0};

  htim11.Instance = TIM11;
  htim11.Init.Prescaler = 2-1;
  htim11.Init.CounterMode = TIM_COUNTERMODE_UP;
  htim11.Init.Period = 4096-1;
  htim11.Init.ClockDivision = TIM_CLOCKDIVISION_DIV1;
  htim11.Init.AutoReloadPreload = TIM_AUTORELOAD_PRELOAD_DISABLE;
  if (HAL_TIM_Base_Init(&htim11) != HAL_OK)
  {
    Error_Handler();
  }
  if (HAL_TIM_PWM_Init(&htim11) != HAL_OK)
  {
    Error_Handler();
  }
  sConfigOC.OCMode = TIM_OCMODE_PWM1;
  sConfigOC.Pulse = 0;
  sConfigOC.OCPolarity = TIM_OCPOLARITY_HIGH;
  sConfigOC.OCFastMode = TIM_OCFAST_DISABLE;
  if (HAL_TIM_PWM_ConfigChannel(&htim11, &sConfigOC, TIM_CHANNEL_1) != HAL_OK)
  {
    Error_Handler();
  }
  HAL_TIM_MspPostInit(&htim11);

}

static void MX_TIM12_Init(void)
{

  TIM_OC_InitTypeDef sConfigOC = {0};

  htim12.Instance = TIM12;
  htim12.Init.Prescaler = 2-1;
  htim12.Init.CounterMode = TIM_COUNTERMODE_UP;
  htim12.Init.Period = 4096-1;
  htim12.Init.ClockDivision = TIM_CLOCKDIVISION_DIV1;
  htim12.Init.AutoReloadPreload = TIM_AUTORELOAD_PRELOAD_DISABLE;
  if (HAL_TIM_PWM_Init(&htim12) != HAL_OK)
  {
    Error_Handler();
  }
  sConfigOC.OCMode = TIM_OCMODE_PWM1;
  sConfigOC.Pulse = 0;
  sConfigOC.OCPolarity = TIM_OCPOLARITY_HIGH;
  sConfigOC.OCFastMode = TIM_OCFAST_DISABLE;
  if (HAL_TIM_PWM_ConfigChannel(&htim12, &sConfigOC, TIM_CHANNEL_1) != HAL_OK)
  {
    Error_Handler();
  }
  if (HAL_TIM_PWM_ConfigChannel(&htim12, &sConfigOC, TIM_CHANNEL_2) != HAL_OK)
  {
    Error_Handler();
  }
  HAL_TIM_MspPostInit(&htim12);

}

static void MX_TIM13_Init(void)
{

  TIM_OC_InitTypeDef sConfigOC = {0};

  htim13.Instance = TIM13;
  htim13.Init.Prescaler = 2-1;
  htim13.Init.CounterMode = TIM_COUNTERMODE_UP;
  htim13.Init.Period = 4096-1;
  htim13.Init.ClockDivision = TIM_CLOCKDIVISION_DIV1;
  htim13.Init.AutoReloadPreload = TIM_AUTORELOAD_PRELOAD_DISABLE;
  if (HAL_TIM_Base_Init(&htim13) != HAL_OK)
  {
    Error_Handler();
  }
  if (HAL_TIM_PWM_Init(&htim13) != HAL_OK)
  {
    Error_Handler();
  }
  sConfigOC.OCMode = TIM_OCMODE_PWM1;
  sConfigOC.Pulse = 0;
  sConfigOC.OCPolarity = TIM_OCPOLARITY_HIGH;
  sConfigOC.OCFastMode = TIM_OCFAST_DISABLE;
  if (HAL_TIM_PWM_ConfigChannel(&htim13, &sConfigOC, TIM_CHANNEL_1) != HAL_OK)
  {
    Error_Handler();
  }
  HAL_TIM_MspPostInit(&htim13);

}

static void MX_TIM14_Init(void)
{

  TIM_OC_InitTypeDef sConfigOC = {0};

  htim14.Instance = TIM14;
  htim14.Init.Prescaler = 2-1;
  htim14.Init.CounterMode = TIM_COUNTERMODE_UP;
  htim14.Init.Period = 4096-1;
  htim14.Init.ClockDivision = TIM_CLOCKDIVISION_DIV1;
  htim14.Init.AutoReloadPreload = TIM_AUTORELOAD_PRELOAD_DISABLE;
  if (HAL_TIM_Base_Init(&htim14) != HAL_OK)
  {
    Error_Handler();
  }
  if (HAL_TIM_PWM_Init(&htim14) != HAL_OK)
  {
    Error_Handler();
  }
  sConfigOC.OCMode = TIM_OCMODE_PWM1;
  sConfigOC.Pulse = 0;
  sConfigOC.OCPolarity = TIM_OCPOLARITY_HIGH;
  sConfigOC.OCFastMode = TIM_OCFAST_DISABLE;
  if (HAL_TIM_PWM_ConfigChannel(&htim14, &sConfigOC, TIM_CHANNEL_1) != HAL_OK)
  {
    Error_Handler();
  }
  HAL_TIM_MspPostInit(&htim14);

}

static void MX_UART4_Init(void)
{

  huart4.Instance = UART4;
  huart4.Init.BaudRate = 115200;
  huart4.Init.WordLength = UART_WORDLENGTH_8B;
  huart4.Init.StopBits = UART_STOPBITS_1;
  huart4.Init.Parity = UART_PARITY_NONE;
  huart4.Init.Mode = UART_MODE_TX_RX;
  huart4.Init.HwFlowCtl = UART_HWCONTROL_NONE;
  huart4.Init.OverSampling = UART_OVERSAMPLING_16;
  if (HAL_UART_Init(&huart4) != HAL_OK)
  {
    Error_Handler();
  }

}

static void MX_USART2_UART_Init(void)
{

  huart2.Instance = USART2;
  huart2.Init.BaudRate = 115200;
  huart2.Init.WordLength = UART_WORDLENGTH_8B;
  huart2.Init.StopBits = UART_STOPBITS_1;
  huart2.Init.Parity = UART_PARITY_NONE;
  huart2.Init.Mode = UART_MODE_RX;
  huart2.Init.HwFlowCtl = UART_HWCONTROL_NONE;
  huart2.Init.OverSampling = UART_OVERSAMPLING_16;
  if (HAL_UART_Init(&huart2) != HAL_OK)
  {
    Error_Handler();
  }

}

static void MX_GPIO_Init(void)
{
  GPIO_InitTypeDef GPIO_InitStruct = {0};

  /* GPIO Ports Clock Enable */
  __HAL_RCC_GPIOE_CLK_ENABLE();
  __HAL_RCC_GPIOC_CLK_ENABLE();
  __HAL_RCC_GPIOH_CLK_ENABLE();
  __HAL_RCC_GPIOA_CLK_ENABLE();
  __HAL_RCC_GPIOB_CLK_ENABLE();
  __HAL_RCC_GPIOD_CLK_ENABLE();

  /*Configure GPIO pin Output Level */
  HAL_GPIO_WritePin(GPIOE, CE_1_Pin|CE_2_Pin|GPIO_PIN_7|GPIO_PIN_8
                          |GPIO_PIN_10|LB_DIGI_R_Pin|GPIO_PIN_13|GPIO_PIN_15
                          |EXTRA2_DIGI_R_Pin|RF_DIGI_R_Pin, GPIO_PIN_RESET);

  /*Configure GPIO pin Output Level */
  HAL_GPIO_WritePin(GPIOC, EXTRA1_DIGI_R_Pin|LF_DIGI_R_Pin, GPIO_PIN_RESET);

  /*Configure GPIO pin Output Level */
  HAL_GPIO_WritePin(GPIOB, GPIO_PIN_0, GPIO_PIN_RESET);

  /*Configure GPIO pin Output Level */
  HAL_GPIO_WritePin(RB_DIGI_R_GPIO_Port, RB_DIGI_R_Pin, GPIO_PIN_RESET);

  /*Configure GPIO pins : CE_1_Pin CE_2_Pin PE7 PE8
                           PE10 LB_DIGI_R_Pin PE13 PE15
                           EXTRA2_DIGI_R_Pin RF_DIGI_R_Pin */
  GPIO_InitStruct.Pin = CE_1_Pin|CE_2_Pin|GPIO_PIN_7|GPIO_PIN_8
                          |GPIO_PIN_10|LB_DIGI_R_Pin|GPIO_PIN_13|GPIO_PIN_15
                          |EXTRA2_DIGI_R_Pin|RF_DIGI_R_Pin;
  GPIO_InitStruct.Mode = GPIO_MODE_OUTPUT_PP;
  GPIO_InitStruct.Pull = GPIO_NOPULL;
  GPIO_InitStruct.Speed = GPIO_SPEED_FREQ_LOW;
  HAL_GPIO_Init(GPIOE, &GPIO_InitStruct);

  /*Configure GPIO pins : EXTRA1_DIGI_R_Pin LF_DIGI_R_Pin */
  GPIO_InitStruct.Pin = EXTRA1_DIGI_R_Pin|LF_DIGI_R_Pin;
  GPIO_InitStruct.Mode = GPIO_MODE_OUTPUT_PP;
  GPIO_InitStruct.Pull = GPIO_NOPULL;
  GPIO_InitStruct.Speed = GPIO_SPEED_FREQ_LOW;
  HAL_GPIO_Init(GPIOC, &GPIO_InitStruct);

  /*Configure GPIO pin : PB0 */
  GPIO_InitStruct.Pin = GPIO_PIN_0;
  GPIO_InitStruct.Mode = GPIO_MODE_OUTPUT_PP;
  GPIO_InitStruct.Pull = GPIO_NOPULL;
  GPIO_InitStruct.Speed = GPIO_SPEED_FREQ_LOW;
  HAL_GPIO_Init(GPIOB, &GPIO_InitStruct);

  /*Configure GPIO pin : RB_DIGI_R_Pin */
  GPIO_InitStruct.Pin = RB_DIGI_R_Pin;
  GPIO_InitStruct.Mode = GPIO_MODE_OUTPUT_PP;
  GPIO_InitStruct.Pull = GPIO_NOPULL;
  GPIO_InitStruct.Speed = GPIO_SPEED_FREQ_LOW;
  HAL_GPIO_Init(RB_DIGI_R_GPIO_Port, &GPIO_InitStruct);

}

/* USER CODE BEGIN 4 */
//void HAL_UART_RxCpltCallback(UART_HandleTypeDef *huart) {
//    if (huart->Instance == USART2) {
//    	last_uart_data_time = uwTick;
//        switch (joy_recv_fsm) {
//        case 0:
//            if (temp_buffer == 'R') {
//                Str_PS2.Header[0] = 'R';
//                joy_recv_fsm = 1;
//            } else {
//                // ข้อมูลไม่ถู�?ต้อง => reset FSM
//                joy_recv_fsm = 0;
//                cpy_pointer = 0;
//                uart_resetting = 1;
//                Str_PS2.Header[0] = 0;
//                Str_PS2.Header[1] = 0;
//            }
//            break;
//
//        case 1:
//            if (temp_buffer == 'B') {
//                Str_PS2.Header[1] = 'B';
//                joy_recv_fsm = 2;
//            } else {
//                // ผิดลำดับ => reset
//                joy_recv_fsm = 0;
//                cpy_pointer = 0;
//                uart_resetting = 1;
//                Str_PS2.Header[0] = 0;
//                Str_PS2.Header[1] = 0;
//            }
//            break;
//
//        case 2:
//            *((uint8_t*) &Str_PS2.moveBtnByte + cpy_pointer) = temp_buffer;
//            cpy_pointer++;
//            if (cpy_pointer > 7) {
//            	uart_resetting = 0;
//                cpy_pointer = 0;
//                joy_recv_fsm = 0;
//            }
//            break;
//        }
//
//        // รอข้อมูลตัวถัดไป
//        HAL_UART_Receive_IT(&huart2, (uint8_t*) &temp_buffer, 1);
//    }
//}

void HAL_UART_RxCpltCallback(UART_HandleTypeDef *huart)
{
     if (huart->Instance == USART2){
        last_uart_data_time = uwTick;
        uart_resetting = 0;
        HAL_UART_Receive_IT(&huart2, (uint8_t*)&Str_PS2, sizeof(Str_PS2));
     }
}
/* USER CODE END 4 */

void Error_Handler(void)
{
  __disable_irq();
  while (1)
  {
  }
}
